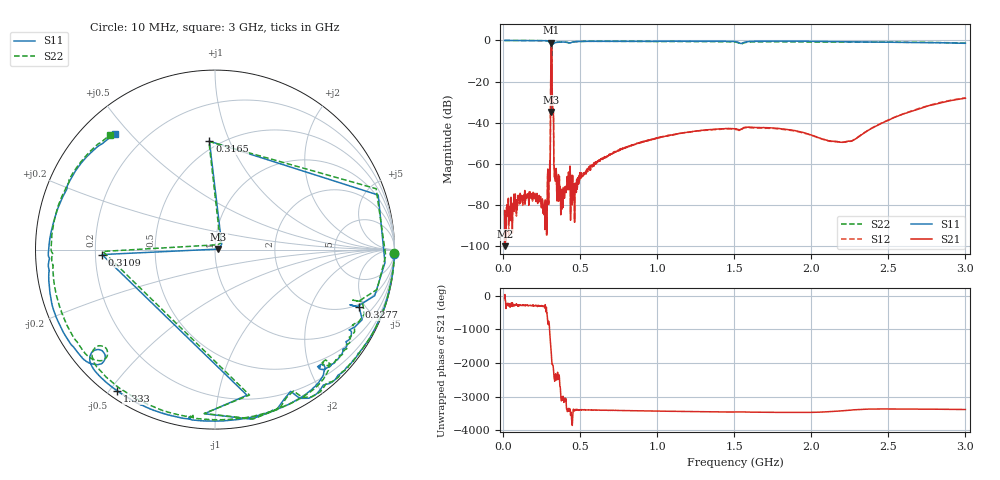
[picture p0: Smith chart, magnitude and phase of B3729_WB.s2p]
! Matrix data file written by TouchstoneData, EPCOS AG
! FILENAME: "B3729_WB.s2p"
! COMMENT: "PCB:D6E PINN:1/4 PORTEXT1:94.5ps PORTEXT2:18"
! INFO: nport=2, nfreq=1601
! DATE: "Mon Sep 28 17:40:05 2009"
! USER: "Sergey Rostovtsev"
! port | pin | signal
!  1  |  1  |  in
!  2  |  4  |  out
# MHZ S MA R 50
! freq  magS11 angS11  magS21 angS21  magS12 angS12  magS22 angS22
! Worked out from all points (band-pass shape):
!   1601 points, 10 MHz to 3 GHz, reference 50 ohm
!   highest |S21| = -1.09 dB at 312.7 MHz (marker M1); lowest = -99.9 dB at 11.87 MHz (marker M2)
!   |S21| within 3 dB of the highest: 311.2 MHz to 316.4 MHz (5.161 MHz wide, 1.64 % of centre)
!   lowest |S11| = -34.8 dB at 312.7 MHz (marker M3), VSWR 1.04, Z = 51.8 + j0.312 ohm
!   |S11| at or under -10 dB: 311.2 MHz to 316 MHz (4.765 MHz wide, 1.52 % of centre)
!   |S22| runs from -30.0 to 0.0 dB; largest |S21 - S12| = 0.0026
!   S11 on the Smith chart (normalised r, x): 10 MHz: 1, -82; 310.9 MHz: 0.23, -0.02; 316.5 MHz: 0.44, +0.85; 327.7 MHz: 1.78, -4.53; 1.333 GHz: 0.03, -0.52; 3 GHz: 0.10, +0.45
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10  0.9997 -1.4  7.343e-05 -75.1  7.72e-05 -76.2  0.9991 -1.2
11.86875  0.9989 -1.7  1.012e-05 30.2  1.237e-05 94.3  0.9994 -1.6
185.6625  0.9942 -26.2  0.0001795 63.2  0.0001732 66.5  0.9952 -25.0
271.625  0.9868 -42.9  2.558e-05 4.2  3.551e-05 -36.7  0.9895 -41.5
290.3125  0.9663 -51.4  0.0007457 -76.5  0.000751 -76.7  0.9695 -50.1
303.3938  0.9559 -69.0  0.001226 -50.8  0.001221 -50.8  0.9559 -67.9
310.8687  0.6301 -177.5  0.5769 -97.4  0.5742 -97.4  0.6247 -179.1
312.7375  0.01824 9.5  0.8817 96.8  0.8808 96.9  0.03174 58.8
316.475  0.6049 93.0  0.6125 -164.2  0.6115 -164.0  0.6034 93.2
327.6875  0.865 -21.7  0.01174 -57.6  0.01177 -57.6  0.8703 -19.5
342.6375  0.9 -33.9  0.0006449 101.5  0.0006634 103.1  0.9003 -31.8
363.1938  0.912 -38.7  0.0001542 41.3  0.0001768 42.9  0.916 -36.6
430.4688  0.8757 -48.1  0.0004113 -121.0  0.0004092 -121.0  0.8759 -45.8
462.2375  0.9269 -49.8  0.0001955 -163.3  0.0001971 -161.3  0.9284 -47.8
508.9563  0.9485 -56.1  0.0005106 -141.8  0.0005184 -141.5  0.9513 -53.9
1007.913  0.9555 -101.6  0.004288 171.0  0.004307 169.8  0.9421 -101.1
1333.075  0.9575 -124.7  0.006776 150.1  0.00664 148.7  0.9377 -124.7
1505  0.9383 -137.6  0.007171 140.7  0.006935 139.7  0.9152 -138.1
2003.956  0.9525 -164.2  0.004986 133.3  0.004923 134.2  0.9182 -165.3
2252.5  0.9265 -177.3  0.003572 -162.3  0.003562 -160.7  0.909 -179.0
2502.912  0.9086 167.9  0.01167 -124.9  0.01195 -124.1  0.9077 165.4
3000  0.8533 130.8  0.03959 -142.7  0.04052 -143.4  0.8666 132.4
